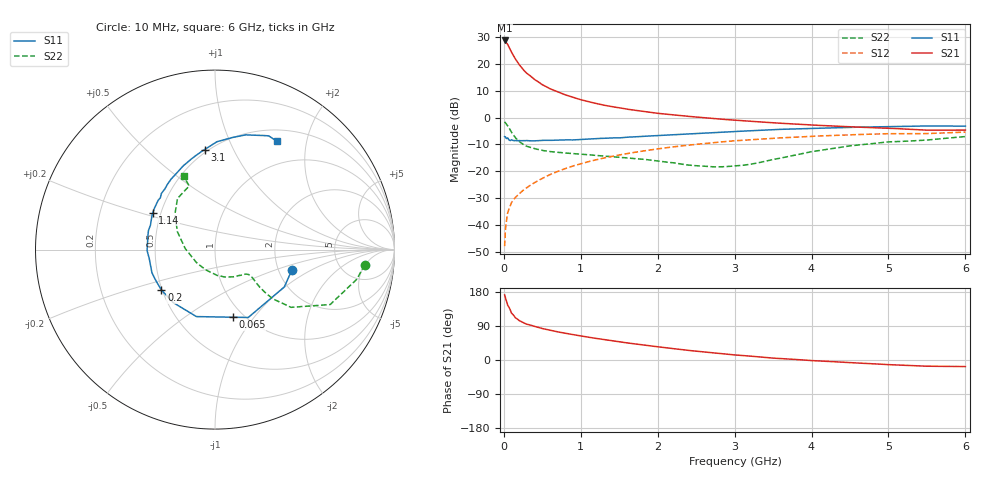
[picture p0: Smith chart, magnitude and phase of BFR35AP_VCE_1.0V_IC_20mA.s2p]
! Infineon Technologies  Discrete & RF Semiconductors
! BFR35AP
! VCE =  1.0 V,  IC =  20 mA
! Common Emitter S-Parameters:  Nov 2015
# GHz  S  MA  R  50
!  f  S11  S21  S12  S22
! GHz  MAG  ANG  MAG  ANG  MAG  ANG  MAG  ANG
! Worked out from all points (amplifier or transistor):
!   210 points, 10 MHz to 6 GHz, reference 50 ohm
!   highest |S21| = 28.8 dB at 10 MHz (marker M1)
!   |S21| within 3 dB of that: start of sweep to 75.67 MHz
!   unconditionally stable (mu >= 1): start of sweep to 11.57 MHz; 177.7 MHz to end of sweep
!   at 185 MHz: K = 1.02, MAG = 23.8 dB, |S12| = -28.8 dB
!   at 1.52 GHz: K = 1.37, MAG = 5.1 dB, |S12| = -13.8 dB
!   at 6 GHz: K = 1.11, MAG = -1.7 dB, |S12| = -5.4 dB
!   S11 on the Smith chart (normalised r, x): 10 MHz: 2.37, -0.66; 65 MHz: 0.89, -0.79; 200 MHz: 0.50, -0.26; 1.14 GHz: 0.45, +0.22; 3.1 GHz: 0.48, +0.78; 6 GHz: 0.65, +1.53
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0.01  0.4435 -14.6  27.62 171.9  0.004 84.3  0.8378 -5.8
0.02  0.4387 -28.3  26.95 164.1  0.0078 76.0  0.808 -11.7
0.05  0.4212 -63.9  23.3 144.6  0.0167 68.6  0.7111 -25.5
0.065  0.3894 -75.3  21.05 139.7  0.0195 65.2  0.6549 -28.3
0.1  0.3873 -105.5  16.64 123.6  0.0261 60.1  0.532 -37.2
0.15  0.376 -128.3  12.43 111.5  0.0325 58.5  0.4219 -40.5
0.2  0.3739 -143.0  9.762 104.0  0.0379 60.0  0.3597 -40.5
0.24  0.3716 -151.2  8.271 99.8  0.0428 61.2  0.3251 -40.0
0.3  0.3743 -159.9  6.711 94.4  0.0496 63.7  0.292 -38.7
0.4  0.3697 -172.2  5.159 88.4  0.0614 65.7  0.2635 -37.1
0.5  0.3785 -179.2  4.125 83.0  0.0736 66.5  0.2448 -36.3
0.6  0.3775 174.6  3.469 78.4  0.0867 66.8  0.2331 -36.6
0.7  0.3813 169.0  3.022 74.2  0.0993 66.9  0.2256 -37.4
0.82  0.3853 163.0  2.611 69.8  0.115 66.0  0.2179 -38.9
1.02  0.3947 153.5  2.128 62.8  0.1405 64.6  0.2078 -42.6
1.14  0.4032 149.2  1.929 58.9  0.1562 63.5  0.2009 -45.6
1.6  0.4327 133.6  1.443 45.2  0.2135 57.9  0.1772 -59.1
2.02  0.465 120.9  1.198 34.4  0.2639 52.1  0.1533 -76.0
3.1  0.5604 95.9  0.879 11.9  0.3785 35.7  0.1289 -154.1
4.1  0.6369 80.0  0.718 -2.5  0.4553 20.9  0.2436 150.6
5.1  0.6835 68.7  0.626 -13.0  0.5024 6.9  0.3576 123.2
6  0.695 60.1  0.587 -17.3  0.5387 -2.8  0.4441 113.1
